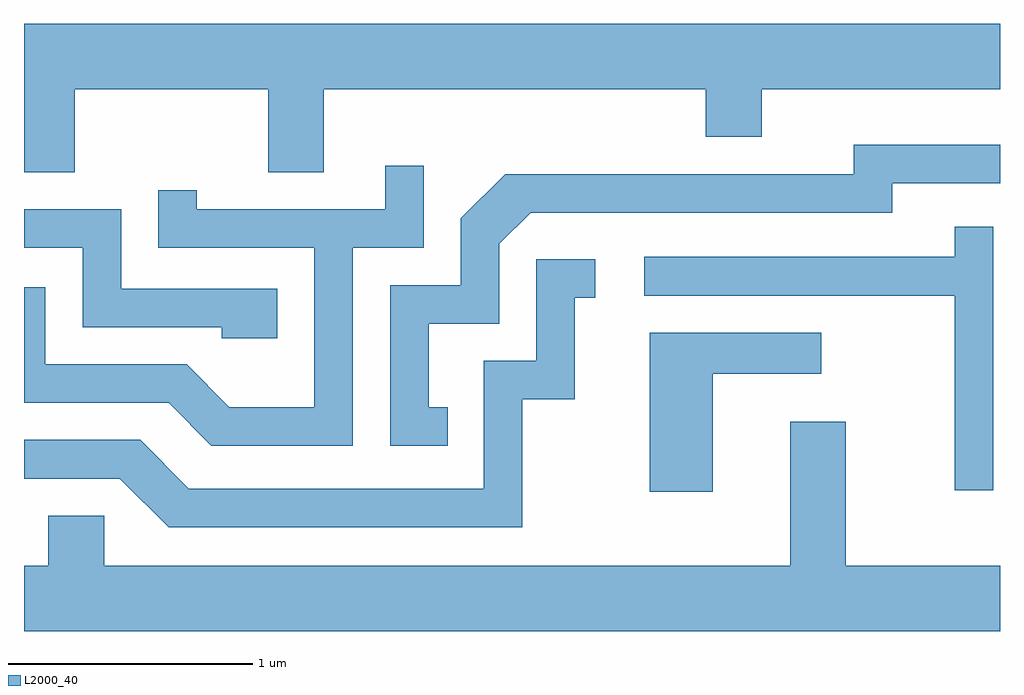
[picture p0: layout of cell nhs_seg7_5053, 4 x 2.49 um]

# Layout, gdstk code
import gdstk
lib = gdstk.Library(unit=1e-6, precision=1e-09)
def P(c, l, *ps):  # polygons
    for p in ps: c.add(gdstk.Polygon(p, *l))
L2000_40 = (2000, 40)

nhs_seg7_5053 = lib.new_cell('nhs_seg7_5053')
P(nhs_seg7_5053, L2000_40, [(339.819,1745.396),(340.611,1745.396),(340.611,1745.056),(340.839,1745.056),(340.839,1745.396),(342.406,1745.396),(342.406,1745.201),(342.634,1745.201),(342.634,1745.396),(343.611,1745.396),(343.611,1745.664),(339.611,1745.664),(339.611,1745.056),(339.819,1745.056)],
  [(341.348,1744.094),(341.269,1744.094),(341.269,1744.436),(341.559,1744.436),(341.559,1744.764),(341.687,1744.891),(343.169,1744.891),(343.169,1745.011),(343.611,1745.011),(343.611,1745.169),(343.011,1745.169),(343.011,1745.049),(341.584,1745.049),(341.401,1744.867),(341.401,1744.594),(341.111,1744.594),(341.111,1743.936),(341.348,1743.936)],
  [(340.959,1744.746),(341.249,1744.746),(341.249,1745.083),(341.091,1745.083),(341.091,1744.904),(340.319,1744.904),(340.319,1744.983),(340.161,1744.983),(340.161,1744.746),(340.801,1744.746),(340.801,1744.094),(340.452,1744.094),(340.277,1744.269),(339.699,1744.269),(339.699,1744.584),(339.611,1744.584),(339.611,1744.111),(340.204,1744.111),(340.379,1743.936),(340.959,1743.936)],
  [(340.649,1744.579),(340.009,1744.579),(340.009,1744.904),(339.611,1744.904),(339.611,1744.746),(339.851,1744.746),(339.851,1744.421),(340.421,1744.421),(340.421,1744.376),(340.649,1744.376)],
  [(343.584,1744.833),(343.426,1744.833),(343.426,1744.709),(342.153,1744.709),(342.153,1744.551),(343.426,1744.551),(343.426,1743.753),(343.584,1743.753)],
  [(341.654,1744.126),(341.869,1744.126),(341.869,1744.541),(341.953,1744.541),(341.953,1744.699),(341.711,1744.699),(341.711,1744.284),(341.496,1744.284),(341.496,1743.759),(340.287,1743.759),(340.087,1743.959),(339.611,1743.959),(339.611,1743.801),(340.004,1743.801),(340.204,1743.601),(341.654,1743.601)],
  [(342.434,1744.231),(342.878,1744.231),(342.878,1744.399),(342.176,1744.399),(342.176,1743.746),(342.434,1743.746)],
  [(343.611,1743.444),(342.979,1743.444),(342.979,1744.034),(342.751,1744.034),(342.751,1743.444),(339.939,1743.444),(339.939,1743.649),(339.711,1743.649),(339.711,1743.444),(339.611,1743.444),(339.611,1743.176),(343.611,1743.176)])

lib.write_gds('nhs_seg7_5053.gds')
